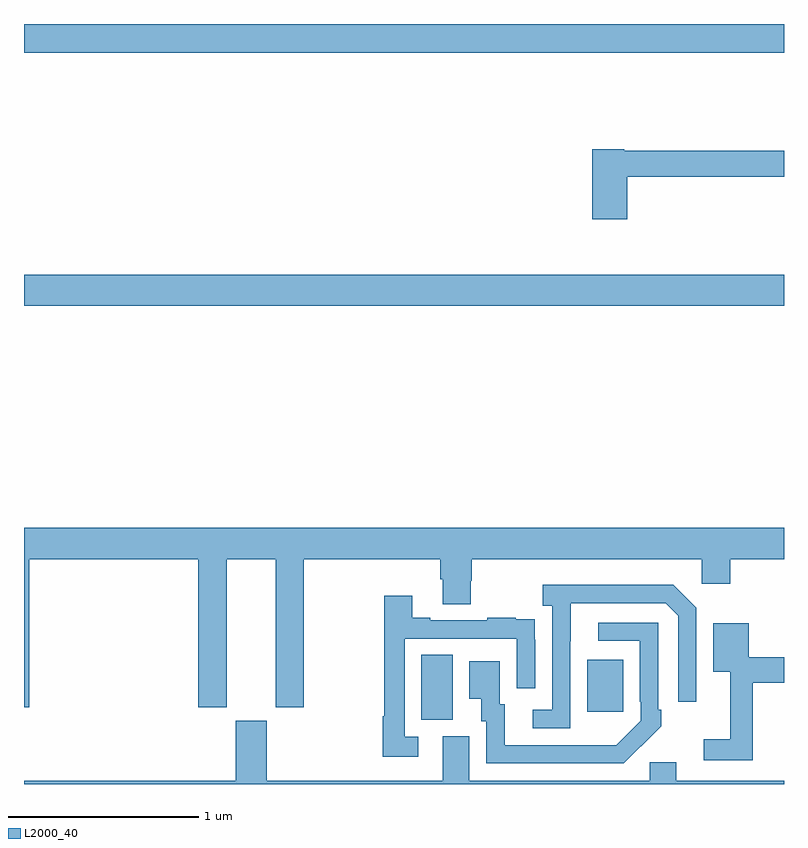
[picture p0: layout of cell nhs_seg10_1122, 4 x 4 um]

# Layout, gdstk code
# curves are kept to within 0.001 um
import gdstk
lib = gdstk.Library(unit=1e-6, precision=1e-09)
def R(c, l, rs):  # rectangles x0, y0, x1, y1
    for r in rs: c.add(gdstk.rectangle(r[:2], r[2:], *l))
def P(c, l, *ps):  # polygons
    for p in ps: c.add(gdstk.Polygon(p, *l))
L2000_40 = (2000, 40)

nhs_seg10_1122 = lib.new_cell('nhs_seg10_1122')
R(nhs_seg10_1122, L2000_40, [(171.092,1264.837,171.256,1265.18), (171.965,1264.881,172.153,1265.155), (169,1267.016,173,1267.18), (169,1268.348,173,1268.5)])
P(nhs_seg10_1122, L2000_40, [(172.175,1267.696),(173,1267.696),(173,1267.832),(172.158,1267.832),(172.158,1267.84),(171.992,1267.84),(171.992,1267.473),(172.175,1267.473)],
  [(169,1264.905),(169.028,1264.905),(169.028,1265.684),(169.916,1265.684),(169.916,1264.905),(170.068,1264.905),(170.068,1265.684),(170.324,1265.684),(170.324,1264.905),(170.472,1264.905),(170.472,1265.684),(171.191,1265.684),(171.191,1265.578),(171.203,1265.578),(171.203,1265.446),(171.351,1265.446),(171.351,1265.571),(171.356,1265.571),(171.356,1265.684),(172.566,1265.684),(172.566,1265.553),(172.718,1265.553),(172.718,1265.684),(173,1265.684),(173,1265.848),(169,1265.848)],
  [(171.876,1265.251),(171.877,1265.451),(172.377,1265.451),(172.443,1265.385),(172.443,1264.932),(172.539,1264.932),(172.539,1265.427),(172.418,1265.548),(171.729,1265.548),(171.729,1265.438),(171.78,1265.438),(171.78,1264.89),(171.678,1264.89),(171.678,1264.794),(171.876,1264.794)],
  [(171.076,1264.749),(171.003,1264.749),(171.003,1265.265),(171.594,1265.265),(171.594,1265.004),(171.69,1265.004),(171.69,1265.258),(171.689,1265.258),(171.689,1265.367),(171.587,1265.367),(171.587,1265.374),(171.439,1265.374),(171.439,1265.361),(171.139,1265.361),(171.139,1265.374),(171.043,1265.374),(171.043,1265.491),(170.895,1265.491),(170.895,1264.856),(170.887,1264.856),(170.887,1264.644),(171.076,1264.644)],
  [(172.247,1264.699),(172.248,1264.698),(172.353,1264.803),(172.353,1264.891),(172.338,1264.891),(172.338,1265.349),(172.023,1265.349),(172.023,1265.253),(172.242,1265.253),(172.242,1264.933),(172.245,1264.933),(172.245,1264.833),(172.117,1264.705),(171.529,1264.704),(171.529,1264.92),(171.505,1264.92),(171.505,1265.146),(171.344,1265.146),(171.344,1264.949),(171.407,1264.949),(171.407,1264.83),(171.432,1264.83),(171.432,1264.608),(172.156,1264.608)],
  [(172.835,1265.032),(173,1265.032),(173,1265.168),(172.815,1265.168),(172.815,1265.347),(172.628,1265.347),(172.628,1265.09),(172.718,1265.09),(172.718,1264.735),(172.578,1264.735),(172.578,1264.626),(172.835,1264.626)],
  [(173,1264.516),(172.432,1264.516),(172.432,1264.614),(172.293,1264.614),(172.293,1264.516),(171.343,1264.516),(171.343,1264.752),(171.203,1264.752),(171.203,1264.516),(170.278,1264.516),(170.278,1264.833),(170.114,1264.833),(170.114,1264.516),(169,1264.516),(169,1264.5),(173,1264.5)])

lib.write_gds('nhs_seg10_1122.gds')
